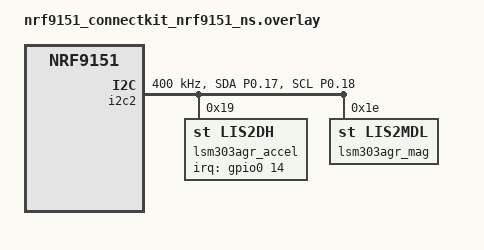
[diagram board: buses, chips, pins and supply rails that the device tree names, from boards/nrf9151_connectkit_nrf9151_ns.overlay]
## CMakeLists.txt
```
cmake_minimum_required(VERSION 3.20.0)
find_package(Zephyr REQUIRED HINTS $ENV{ZEPHYR_BASE})

project(zephyr_lsm303agr)

target_include_directories(app PRIVATE include)

target_sources(app PRIVATE
  src/main.c
  src/calibration.c
  src/cal2d.c
)
```

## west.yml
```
manifest:
  remotes:
    - name: ncs
      url-base: https://github.com/nrfconnect
    - name: makerdiary
      url-base: https://github.com/makerdiary

  projects:
    - name: nrf
      repo-path: sdk-nrf
      remote: ncs
      revision: v3.3.0
      import: true

    - name: nrf9151-connectkit
      remote: makerdiary
      revision: main
      path: nrf9151-connectkit
      import: false # only pull the board files

  self:
    path: zephyr-lsm303agr
```

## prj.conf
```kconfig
CONFIG_LOG=y

CONFIG_I2C=y

CONFIG_LIS2DH=y  # Accelerometer
CONFIG_LIS2DH_TRIGGER_GLOBAL_THREAD=y
CONFIG_LIS2DH_ACCEL_HP_FILTERS=y
CONFIG_LIS2MDL=y # Magnetometer
CONFIG_GPIO=y

CONFIG_SENSOR=y

CONFIG_NEWLIB_LIBC=y
CONFIG_CBPRINTF_FP_SUPPORT=y

# Shell for the 2D fine-tune calibration commands (cal2d ...)
CONFIG_SHELL=y
CONFIG_SHELL_BACKEND_SERIAL=y

# Hardware FPU (Cortex-M33) for the calibration math
CONFIG_FPU=y

CONFIG_MAIN_STACK_SIZE=32768
CONFIG_HEAP_MEM_POOL_SIZE=8192
CONFIG_LOG_MODE_IMMEDIATE=y
```

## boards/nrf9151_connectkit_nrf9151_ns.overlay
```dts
/*
 * Board overlay for Makerdiary nRF9151 Connect Kit
 * Target: nrf9151_connectkit/nrf9151/ns
 *
 * The Connect Kit has no arduino_i2c alias, so &i2c2 is configured
 * directly with custom pinctrl states.
 *
 * Sensor wiring:
 *   SDA → P0.17   SCL → P0.18
 */

#include <zephyr/dt-bindings/gpio/gpio.h>

&pinctrl {
    i2c2_default: i2c2_default {
        group1 {
            psels = <NRF_PSEL(TWIM_SDA, 0, 17)>,
                    <NRF_PSEL(TWIM_SCL, 0, 18)>;
        };
    };

    i2c2_sleep: i2c2_sleep {
        group1 {
            psels = <NRF_PSEL(TWIM_SDA, 0, 17)>,
                    <NRF_PSEL(TWIM_SCL, 0, 18)>;
            low-power-enable;
        };
    };
};

&i2c2 {
    compatible = "nordic,nrf-twim";
    status = "okay";
    pinctrl-0 = <&i2c2_default>;
    pinctrl-1 = <&i2c2_sleep>;
    pinctrl-names = "default", "sleep";
    clock-frequency = <I2C_BITRATE_FAST>;

    lsm303agr_accel: lsm303agr_accel@19 {
        compatible = "st,lis2dh";
        reg = <0x19>;
        irq-gpios = <&gpio0 14 GPIO_ACTIVE_HIGH>;
        anym-on-int1;
        int1-gpio-config = <3>; /* LEVEL_HIGH */
    };

    lsm303agr_mag: lsm303agr_mag@1e {
        compatible = "st,lis2mdl";
        reg = <0x1e>;
    };
};
```

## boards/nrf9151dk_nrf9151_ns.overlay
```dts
#include <zephyr/dt-bindings/gpio/gpio.h>

&arduino_i2c {
    status = "okay";

    lsm303agr_accel: lsm303agr_accel@19 {
        compatible = "st,lis2dh";
        reg = <0x19>;
        irq-gpios = <&gpio0 14 GPIO_ACTIVE_HIGH>;
        anym-on-int1;
        int1-gpio-config = <3>; /* LEVEL_HIGH */
    };

    lsm303agr_mag: lsm303agr_mag@1e {
        compatible = "st,lis2mdl";
        reg = <0x1e>;
    };
};
```

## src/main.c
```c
#include <zephyr/kernel.h>
#include <zephyr/device.h>
#include <zephyr/logging/log.h>
#include <zephyr/drivers/sensor.h>
#include <zephyr/shell/shell.h>

#include <math.h>

#include "calibration.h"
#include "cal2d.h"

LOG_MODULE_REGISTER(zephyr_lsm303agr);

const struct device *accel = DEVICE_DT_GET(DT_NODELABEL(lsm303agr_accel));
const struct device *mag   = DEVICE_DT_GET(DT_NODELABEL(lsm303agr_mag));

static const struct device *i2c =
  DEVICE_DT_GET(DT_BUS(DT_NODELABEL(lsm303agr_mag)));

/*
 * 2D fine-tune calibration (DT0103). The lab 3D MotionCal values (hard-iron in
 * the chip registers, soft-iron applied in software) are the base calibration.
 * At the install site the operator runs a single limited in-plane rotation:
 *
 *   cal2d start   -> rotate the device +-20..30 deg in its mounting plane
 *   cal2d stop    -> compute and print the fine-tune (de-rotation + hard-iron)
 *   cal2d apply   -> apply it to the live stream; cal2d off to revert
 *
 * The fine-tune sees soft-iron + lab-hard-iron corrected data and returns the
 * residual installation error and residual environmental hard-iron.
 */
#define CAL2D_MAX_SAMPLES 400
#define CAL2D_TICK_MS     50   /* ~20 Hz capture rate */
#define IDLE_PRINT_TICKS  1   /* decimate idle stream to ~1 Hz */

static struct mag_calibration cal;  /* lab base calibration */

static volatile bool cap_running;
static float  cap_acc[CAL2D_MAX_SAMPLES][3];
static float  cap_mag[CAL2D_MAX_SAMPLES][3];
static size_t cap_count;

static struct cal2d_result g_result;
static volatile bool g_result_valid;
static volatile bool g_apply;

/* Tilt-compensated heading (DT0058) from accel (m/s^2) + horizontal-frame mag. */
static double tilt_comp_heading(double ax, double ay, double az, double mx,
				double my, double mz)
{
	double roll = atan2(ay, az);
	double pitch = atan(-ax / (ay * sin(roll) + az * cos(roll)));
	double cr = cos(roll), sr = sin(roll);
	double cp = cos(pitch), sp = sin(pitch);

	/* rotate mag by euler2rotM([roll,pitch,0]) (row-vector convention) */
	double mxh = mx * (cp) + my * (sr * sp) + mz * (cr * sp);
	double myh = my * (cr) + mz * (-sr);
	double hdg = atan2(-myh, mxh) * 180.0 / 3.14159265358979323846;
	if (hdg < 0.0) {
		hdg += 360.0;
	}
	return hdg;
}

/*
 * Machine-readable result line for the GUI tool (tools/cal2d_gui). The GUI
 * extracts the "#R," payload from the line regardless of any log prefix:
 *   #R,status,roll,pitch,yaw,hix,hiy,hiz,arc_deg,radius,plane_res,circ_res,axis_vert
 * angles in degrees, hard-iron/radius in the mag units, axis_vert 0/1.
 */
static void cal2d_emit_result_line(int status)
{
	if (status == CAL2D_OK && g_result_valid) {
		const struct cal2d_result *r = &g_result;
		LOG_INF("#R,0,%.3f,%.3f,%.3f,%.4f,%.4f,%.4f,%.2f,%.4f,%.4f,%.4f,%d",
			(double)(r->rpy_err[0] * 57.29578f),
			(double)(r->rpy_err[1] * 57.29578f),
			(double)(r->rpy_err[2] * 57.29578f),
			(double)r->hard_iron[0], (double)r->hard_iron[1],
			(double)r->hard_iron[2], (double)r->arc_span_deg,
			(double)r->field_radius, (double)r->plane_rms_mag,
			(double)r->circle_residual, r->axis_vertical ? 1 : 0);
	} else {
		LOG_INF("#R,%d,0,0,0,0,0,0,0,0,0,0,0", status);
	}
}

/*
 * Stop capturing and compute the fine-tune from the first n samples, storing
 * it in g_result on success. Shared by the 'cal2d stop' command and the
 * auto-stop path when the sample buffer fills. Returns a CAL2D_* status.
 */
static int cal2d_finish_capture(size_t n)
{
	cap_running = false;

	struct cal2d_params p;
	cal2d_params_default(&p);
	memcpy(p.soft_iron, cal.soft_iron, sizeof(p.soft_iron));

	struct cal2d_result r;
	int st = cal2d_compute(cap_acc, cap_mag, n, &p, &r);
	if (st == CAL2D_OK) {
		g_result = r;
		g_result_valid = true;
	}
	cal2d_emit_result_line(st);
	return st;
}

/* ------------------------------------------------------------------ */
/* cal2d shell commands                                               */
/* ------------------------------------------------------------------ */

static int cmd_cal2d_start(const struct shell *sh, size_t argc, char **argv)
{
	ARG_UNUSED(argc);
	ARG_UNUSED(argv);
	if (cap_running) {
		shell_warn(sh, "capture already running; use 'cal2d stop' first");
		return -EALREADY;
	}
	cap_count = 0;
	cap_running = true;
	shell_print(sh, "cal2d: capturing -- rotate the device +-20..30 deg in its");
	shell_print(sh, "       mounting plane, then run 'cal2d stop' (max %d samples)",
		    CAL2D_MAX_SAMPLES);
	return 0;
}

static int cmd_cal2d_stop(const struct shell *sh, size_t argc, char **argv)
{
	ARG_UNUSED(argc);
	ARG_UNUSED(argv);
	if (!cap_running) {
		shell_warn(sh, "no capture running; use 'cal2d start' first");
		return -EINVAL;
	}
	size_t n = cap_count;
	shell_print(sh, "cal2d: captured %u samples, computing...", (unsigned)n);

	int st = cal2d_finish_capture(n);
	if (st != CAL2D_OK) {
		const char *why = st == CAL2D_ERR_TOO_FEW ? "not enough samples"
			: st == CAL2D_ERR_PLANE ? "degenerate plane (no rotation?)"
			: st == CAL2D_ERR_CIRCLE ? "degenerate circle fit"
			: "unknown error";
		shell_error(sh, "cal2d: compute failed (%d): %s", st, why);
		return st;
	}

	const struct cal2d_result r = g_result;

	shell_print(sh, "cal2d: result");
	shell_print(sh, "  de-rotation roll/pitch/yaw = %.2f / %.2f / %.2f deg",
		    (double)(r.rpy_err[0] * 57.29578f),
		    (double)(r.rpy_err[1] * 57.29578f),
		    (double)(r.rpy_err[2] * 57.29578f));
	shell_print(sh, "  residual hard-iron = [%.4f %.4f %.4f] (subtracted, sensor frame)",
		    (double)r.hard_iron[0], (double)r.hard_iron[1],
		    (double)r.hard_iron[2]);
	shell_print(sh, "  arc span = %.1f deg | field radius = %.4f",
		    (double)r.arc_span_deg, (double)r.field_radius);
	shell_print(sh, "  plane residual = %.4f | circle residual = %.4f",
		    (double)r.plane_rms_mag, (double)r.circle_residual);
	shell_print(sh, "  rotation axis treated as %s",
		    r.axis_vertical ? "vertical" : "tilted");

	if (r.arc_span_deg < 30.0f) {
		shell_warn(sh, "  arc < 30 deg: hard-iron estimate is ill-conditioned"
				" -- trust the de-rotation, be cautious with hard-iron");
	}
	if (r.plane_rms_mag > 0.05f) {
		shell_warn(sh, "  high plane residual: motion was not a clean in-plane"
				" rotation");
	}
	if (r.circle_residual > 0.05f) {
		shell_warn(sh, "  high circle residual: soft-iron may be off, or noisy"
				" capture");
	}
	shell_print(sh, "  run 'cal2d apply' to use it on the live stream");
	return 0;
}

static int cmd_cal2d_apply(const struct shell *sh, size_t argc, char **argv)
{
	ARG_UNUSED(argc);
	ARG_UNUSED(argv);
	if (!g_result_valid) {
		shell_warn(sh, "no result yet; run 'cal2d start'/'cal2d stop' first");
		return -EINVAL;
	}
	g_apply = true;
	shell_print(sh, "cal2d: applying fine-tune to live stream");
	return 0;
}

static int cmd_cal2d_off(const struct shell *sh, size_t argc, char **argv)
{
	ARG_UNUSED(argc);
	ARG_UNUSED(argv);
	g_apply = false;
	shell_print(sh, "cal2d: fine-tune disabled on live stream");
	return 0;
}

static int cmd_cal2d_show(const struct shell *sh, size_t argc, char **argv)
{
	ARG_UNUSED(argc);
	ARG_UNUSED(argv);
	if (!g_result_valid) {
		shell_print(sh, "cal2d: no result");
		return 0;
	}
	shell_print(sh, "cal2d: de-rot r/p/y = %.2f/%.2f/%.2f deg, HI = [%.4f %.4f %.4f],"
			" arc %.1f deg, applied=%s",
		    (double)(g_result.rpy_err[0] * 57.29578f),
		    (double)(g_result.rpy_err[1] * 57.29578f),
		    (double)(g_result.rpy_err[2] * 57.29578f),
		    (double)g_result.hard_iron[0], (double)g_result.hard_iron[1],
		    (double)g_result.hard_iron[2], (double)g_result.arc_span_deg,
		    g_apply ? "yes" : "no");
	cal2d_emit_result_line(CAL2D_OK);
	return 0;
}

static int cmd_cal2d_clear(const struct shell *sh, size_t argc, char **argv)
{
	ARG_UNUSED(argc);
	ARG_UNUSED(argv);
	g_apply = false;
	g_result_valid = false;
	shell_print(sh, "cal2d: result cleared");
	return 0;
}

static int cmd_cal2d_status(const struct shell *sh, size_t argc, char **argv)
{
	ARG_UNUSED(argc);
	ARG_UNUSED(argv);
	shell_print(sh, "cal2d: capturing=%s samples=%u result=%s applied=%s",
		    cap_running ? "yes" : "no", (unsigned)cap_count,
		    g_result_valid ? "valid" : "none", g_apply ? "yes" : "no");
	return 0;
}

SHELL_STATIC_SUBCMD_SET_CREATE(
	cal2d_cmds,
	SHELL_CMD(start, NULL, "Begin a fine-tune capture (then rotate +-20..30 deg)",
		  cmd_cal2d_start),
	SHELL_CMD(stop, NULL, "Finish capture and compute the 2D fine-tune",
		  cmd_cal2d_stop),
	SHELL_CMD(apply, NULL, "Apply the last fine-tune to the live stream",
		  cmd_cal2d_apply),
	SHELL_CMD(off, NULL, "Stop applying the fine-tune", cmd_cal2d_off),
	SHELL_CMD(show, NULL, "Print the last fine-tune result", cmd_cal2d_show),
	SHELL_CMD(clear, NULL, "Discard the last fine-tune result", cmd_cal2d_clear),
	SHELL_CMD(status, NULL, "Print capture/apply status", cmd_cal2d_status),
	SHELL_SUBCMD_SET_END);
SHELL_CMD_REGISTER(cal2d, &cal2d_cmds,
		   "2D fine-tune magnetometer calibration (DT0103)", NULL);

/* ------------------------------------------------------------------ */

static void tap_handler(const struct device *dev,
                        const struct sensor_trigger *trig)
{
	LOG_INF("TAP detected");
}

int main(void)
{
	int ret;

	if (!device_is_ready(accel)) {
		LOG_ERR("Accelerometer not ready");
		return -1;
	}
	if (!device_is_ready(mag)) {
		LOG_ERR("Magnetometer not ready");
		return -1;
	}
	if (!device_is_ready(i2c)) {
		LOG_ERR("I2C bus not ready");
		return -1;
	}

	ret = calibration_load(&cal);
	if (ret < 0) {
		LOG_ERR("calibration_load failed: %d", ret);
		return ret;
	}

	/*
	 * Write hard-iron offsets to LSM303AGR hardware registers
	 * After that, every reading is automatically hard-iron
	 * corrected by the chip.
	 */
	ret = calibration_apply_hw(i2c, &cal);
	if (ret < 0) {
		LOG_ERR("calibration_apply_hw failed: %d", ret);
		return ret;
	}

	/* Single-tap detection on accelerometer */
	struct sensor_value tap_th;
	sensor_g_to_ms2(2, &tap_th);  /* ~2g threshold */
	ret = sensor_attr_set(accel, SENSOR_CHAN_ACCEL_XYZ,
	                      SENSOR_ATTR_SLOPE_TH, &tap_th);
	if (ret < 0) {
		LOG_ERR("tap threshold set failed: %d", ret);
		return ret;
	}

	struct sensor_value tap_dur = { .val1 = 3, .val2 = 0 }; /* ODR samples */
	ret = sensor_attr_set(accel, SENSOR_CHAN_ACCEL_XYZ,
	                      SENSOR_ATTR_SLOPE_DUR, &tap_dur);
	if (ret < 0) {
		LOG_ERR("tap duration set failed: %d", ret);
		return ret;
	}

	static const struct sensor_trigger tap_trig = {
		.type = SENSOR_TRIG_TAP,
		.chan = SENSOR_CHAN_ACCEL_XYZ,
	};
	ret = sensor_trigger_set(accel, (struct sensor_trigger *)&tap_trig, tap_handler);
	if (ret < 0) {
		LOG_ERR("tap trigger set failed: %d", ret);
		return ret;
	}

	LOG_INF("Calibration applied. Starting measurement loop.");
	LOG_INF("Run 'cal2d start' / 'cal2d stop' to fine-tune at the install site.");

	struct sensor_value accel_x, accel_y, accel_z;
	struct sensor_value mag_x,   mag_y,   mag_z;
	unsigned int idle_ticks = 0;

	while (1) {
		/* Read accelerometer */
		sensor_sample_fetch(accel);
		sensor_channel_get(accel, SENSOR_CHAN_ACCEL_X, &accel_x);
		sensor_channel_get(accel, SENSOR_CHAN_ACCEL_Y, &accel_y);
		sensor_channel_get(accel, SENSOR_CHAN_ACCEL_Z, &accel_z);
		double dax = sensor_value_to_double(&accel_x);
		double day = sensor_value_to_double(&accel_y);
		double daz = sensor_value_to_double(&accel_z);

		/* Read magnetometer (hard-iron corrected in hardware) */
		sensor_sample_fetch(mag);
		sensor_channel_get(mag, SENSOR_CHAN_MAGN_X, &mag_x);
		sensor_channel_get(mag, SENSOR_CHAN_MAGN_Y, &mag_y);
		sensor_channel_get(mag, SENSOR_CHAN_MAGN_Z, &mag_z);
		double dmx = sensor_value_to_double(&mag_x);
		double dmy = sensor_value_to_double(&mag_y);
		double dmz = sensor_value_to_double(&mag_z);

		/* Lab soft-iron (the cal2d core expects soft-iron-corrected data) */
		double cmx, cmy, cmz;
		calibration_apply_sw(&cal, dmx, dmy, dmz, &cmx, &cmy, &cmz);

		/*
		 * Tilt-compensated heading. Use the 2D fine-tuned mag when a
		 * fine-tune is applied, otherwise the base (soft-iron) mag.
		 */
		double hmx = cmx, hmy = cmy, hmz = cmz;
		bool finetuned = g_result_valid && g_apply;
		if (finetuned) {
			cal2d_apply(&g_result, cmx, cmy, cmz, &hmx, &hmy, &hmz);
		}
		double hdg = tilt_comp_heading(dax, day, daz, hmx, hmy, hmz);

		if (cap_running) {
			if (cap_count < CAL2D_MAX_SAMPLES) {
				cap_acc[cap_count][0] = (float)dax;
				cap_acc[cap_count][1] = (float)day;
				cap_acc[cap_count][2] = (float)daz;
				cap_mag[cap_count][0] = (float)cmx;
				cap_mag[cap_count][1] = (float)cmy;
				cap_mag[cap_count][2] = (float)cmz;
				cap_count++;
			}
			if (cap_count >= CAL2D_MAX_SAMPLES) {
				/* buffer full: stop and compute here, no 'cal2d stop' needed */
				int st = cal2d_finish_capture(cap_count);
				if (st == CAL2D_OK) {
					LOG_INF("cal2d: buffer full (%d samples) -- auto-finished;"
						" run 'cal2d show' / 'cal2d apply'",
						CAL2D_MAX_SAMPLES);
				} else {
					LOG_ERR("cal2d: buffer full but compute failed (%d)", st);
				}
			}
		}

		/*
		 * Machine-readable telemetry for the GUI tool (and a human-glanceable
		 * heading). The GUI extracts the "#T," payload regardless of log prefix:
		 *   #T,state,count,ax,ay,az,mx,my,mz,heading,applied
		 * state 0=idle/1=capturing; mx,my,mz are soft-iron (pre-2D) so the GUI
		 * can plot the swept circle; heading reflects the fine-tune if applied.
		 */
		if (++idle_ticks >= IDLE_PRINT_TICKS) {
			idle_ticks = 0;
			LOG_INF("#T,%d,%u,%.3f,%.3f,%.3f,%.4f,%.4f,%.4f,%.1f,%d",
				cap_running ? 1 : 0, (unsigned)cap_count, dax, day, daz,
				cmx, cmy, cmz, hdg, finetuned ? 1 : 0);
		}

		k_msleep(CAL2D_TICK_MS);
	}
	return 0;
}
```

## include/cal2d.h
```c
#ifndef CAL2D_H
#define CAL2D_H

/*
 * 2D fine-tune magnetometer calibration (ST DT0103).
 *
 * Accelerometer-assisted 2D calibration: from a single limited in-plane
 * rotation (a "fine-tune" sweep, e.g. +-20..30 deg) at the install site,
 * re-estimate
 *
 *   1. the magnetometer installation error (roll/pitch misalignment of the
 *      mag frame vs. the accelerometer frame) -> a de-rotation matrix, and
 *   2. the residual hard-iron offset of the local environment -> the center
 *      of the fitted circle.
 *
 * Soft-iron is assumed already known and applied to the input data (from the
 * lab 3D MotionCal calibration), so the algorithm internally treats soft-iron
 * as unity. Hard-iron returned here is the *additional* environmental offset,
 * on top of whatever the lab calibration already removes.
 *
 * This module is pure C (only <math.h>) so it can be unit-tested on the host.
 *
 * IMPORTANT — short-arc caveat:
 *   With only ~50 deg of arc the plane fit (installation error / tilt) stays
 *   well-conditioned, but the circle-center fit (hard-iron) is ill-conditioned:
 *   center and radius become strongly correlated, so a few mGauss of noise can
 *   produce tens of mGauss of hard-iron error. Trust the de-rotation; gate the
 *   hard-iron on `arc_span_deg` and `circle_residual` in the result.
 *
 * Matrix convention: row-vector post-multiplication, matching the DT0103
 * MATLAB. For a row vector v and matrix M, the transformed vector is
 *   out[j] = sum_i v[i] * M[i][j]    (i.e. out = v * M).
 */

#include <stddef.h>
#include <stdbool.h>

struct cal2d_params {
	/*
	 * Lab soft-iron matrix, kept for reference/logging only. The input data
	 * passed to cal2d_compute() is assumed to be ALREADY soft-iron corrected,
	 * so the core treats soft-iron as unity.
	 */
	float soft_iron[3][3];

	/*
	 * Accelerometer RMS noise in g units, used for the vertical-axis test
	 * (axis is treated as vertical when the accel barycenter spread is below
	 * 6 * acc_noise_rms). Increase to bias toward the simpler vertical-axis
	 * path; decrease to make the tilted-plane machinery trigger on smaller
	 * tilts. ~0.02 g is a sensible default for the LSM303AGR.
	 */
	float acc_noise_rms;

	/*
	 * false (default): circle fit (DT0103 f=2) — 3 parameters, best
	 * conditioned on a short arc, correct when soft-iron is already applied.
	 * true: rotated-ellipse fit (f=0) — 5 parameters, only if residual
	 * soft-iron must be absorbed; much worse on a short arc.
	 */
	bool use_ellipse_fit;

	/*
	 * Force the simple flatten-to-horizontal path (skip the tilted-plane
	 * accel de-rotation + Ycorr finalize) even when the rotation axis is
	 * detected as non-vertical. See cal2d.c / README for why this is the
	 * default-safe choice for near-horizontal mounts.
	 */
	bool force_horizontal;
};

struct cal2d_result {
	/* Installation-error de-rotation (row-vector convention: out = mag * derotM). */
	float derotM[3][3];

	/* Estimated residual hard-iron offset, sensor frame, same units as input. */
	float hard_iron[3];

	/* Reported installation error [roll, pitch, yaw] in radians. */
	float rpy_err[3];

	/* Extent of the captured sweep in degrees (de-rotated XY). */
	float arc_span_deg;

	/* Mag plane-fit RMS residual, normalized by the mean radius (unitless). */
	float plane_rms_mag;

	/* Circle-fit RMS radial residual, normalized by the radius (unitless). */
	float circle_residual;

	/* Fitted circle radius (field strength in the horizontal plane). */
	float field_radius;

	/* true => rotation axis treated as vertical; tilt machinery skipped. */
	bool axis_vertical;

	/* 0 = ok; <0 = error (see CAL2D_ERR_* below). */
	int status;
};

#define CAL2D_OK 0
#define CAL2D_ERR_TOO_FEW (-1)    /* not enough samples */
#define CAL2D_ERR_PLANE (-2)      /* degenerate mag plane fit */
#define CAL2D_ERR_CIRCLE (-3)     /* degenerate circle fit */

/* Minimum number of samples cal2d_compute() will accept. */
#define CAL2D_MIN_SAMPLES 8

/*
 * Compute the 2D fine-tune calibration from a captured sweep.
 *
 *   acc : N x 3 accelerometer samples (any consistent unit; only direction
 *         and relative spread matter — m/s^2 or g are both fine).
 *   mag : N x 3 magnetometer samples, ALREADY soft-iron (and lab hard-iron)
 *         corrected.
 *   n   : number of samples.
 *   p   : parameters (may be NULL for defaults).
 *   r   : result (filled on return; r->status carries the outcome).
 *
 * Returns r->status (0 on success, negative on error).
 */
int cal2d_compute(const float acc[][3], const float mag[][3], size_t n,
		  const struct cal2d_params *p, struct cal2d_result *r);

/*
 * Apply a computed result to one magnetometer sample:
 *   out = (mag - hard_iron) * derotM
 * Input must be in the same (soft-iron corrected) space as the capture.
 */
void cal2d_apply(const struct cal2d_result *r, double mx, double my, double mz,
		 double *ox, double *oy, double *oz);

/* Fill p with default parameters (unity soft-iron, 0.02 g noise, circle fit). */
void cal2d_params_default(struct cal2d_params *p);

#endif /* !CAL2D_H */
```

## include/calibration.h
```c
#ifndef CALIBRATION_H
#define CALIBRATION_H

#include <zephyr/device.h>

struct mag_calibration {
  float hard_iron[3];
  float soft_iron[3][3];
};

int calibration_load(struct mag_calibration *cal);

int calibration_apply_hw(const struct device *i2c,
                         const struct mag_calibration *cal);

void calibration_apply_sw(const struct mag_calibration *cal, double rx,
                          double ry, double rz, double *cx, double *cy,
                          double *cz);

#endif /* !CALIBRATION_H */
```

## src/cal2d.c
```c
/*
 * 2D fine-tune magnetometer calibration (ST DT0103) — pure C core.
 *
 * Faithful port of the DT0103 reference MATLAB ("Compensating for magnetometer
 * installation error and hard-iron effects using accelerometer-assisted 2D
 * calibration", DT0103 Rev 1). The original MATLAB for each function is quoted
 * in a comment above the C port.
 *
 * Conventions:
 *   - Row-vector post-multiplication: out = v * M, i.e. out[j]=sum_i v[i]*M[i][j].
 *   - euler = [roll(phi), pitch(theta), yaw(psi)], radians, NED frame.
 *   - All internal math is double for numerical robustness; the public API
 *     stores float to match the sensor sample buffers.
 */

#include <math.h>
#include <string.h>

#include "cal2d.h"

/* ------------------------------------------------------------------ */
/* Small linear-algebra helpers                                       */
/* ------------------------------------------------------------------ */

/* C = A * B   (3x3, row-major) */
static void mat3_mul(const double A[3][3], const double B[3][3], double C[3][3])
{
	for (int i = 0; i < 3; i++) {
		for (int j = 0; j < 3; j++) {
			double s = 0.0;
			for (int k = 0; k < 3; k++) {
				s += A[i][k] * B[k][j];
			}
			C[i][j] = s;
		}
	}
}

/* B = A^T  (3x3) */
static void mat3_transpose(const double A[3][3], double B[3][3])
{
	for (int i = 0; i < 3; i++) {
		for (int j = 0; j < 3; j++) {
			B[i][j] = A[j][i];
		}
	}
}

/* out = v * M   (row vector times 3x3) */
static void vec3_mul_mat(const double v[3], const double M[3][3], double out[3])
{
	for (int j = 0; j < 3; j++) {
		out[j] = v[0] * M[0][j] + v[1] * M[1][j] + v[2] * M[2][j];
	}
}

/* out = M * v   (3x3 times column vector) */
static void mat_mul_vec3(const double M[3][3], const double v[3], double out[3])
{
	for (int i = 0; i < 3; i++) {
		out[i] = M[i][0] * v[0] + M[i][1] * v[1] + M[i][2] * v[2];
	}
}

/*
 * Solve A x = b for a small dense system (n <= 5) with partial pivoting.
 * A is row-major n x n (destroyed). Returns 0 on success, -1 if singular.
 */
static int solve_linear(double *A, double *b, int n, double *x)
{
	for (int col = 0; col < n; col++) {
		/* partial pivot */
		int piv = col;
		double best = fabs(A[col * n + col]);
		for (int r = col + 1; r < n; r++) {
			double v = fabs(A[r * n + col]);
			if (v > best) {
				best = v;
				piv = r;
			}
		}
		if (best < 1e-18) {
			return -1;
		}
		if (piv != col) {
			for (int c = 0; c < n; c++) {
				double t = A[col * n + c];
				A[col * n + c] = A[piv * n + c];
				A[piv * n + c] = t;
			}
			double t = b[col];
			b[col] = b[piv];
			b[piv] = t;
		}
		/* eliminate */
		double diag = A[col * n + col];
		for (int r = col + 1; r < n; r++) {
			double f = A[r * n + col] / diag;
			if (f == 0.0) {
				continue;
			}
			for (int c = col; c < n; c++) {
				A[r * n + c] -= f * A[col * n + c];
			}
			b[r] -= f * b[col];
		}
	}
	/* back-substitution */
	for (int i = n - 1; i >= 0; i--) {
		double s = b[i];
		for (int c = i + 1; c < n; c++) {
			s -= A[i * n + c] * x[c];
		}
		x[i] = s / A[i * n + i];
	}
	return 0;
}

/* ------------------------------------------------------------------ */
/* DT0103 helper functions (pp. 7-9)                                  */
/* ------------------------------------------------------------------ */

/*
 * function [euler] = acc2euler(acc)
 *   x=acc(:,1); y=acc(:,2); z=acc(:,3);
 *   r=atan2(y,z);
 *   p=atan(-x./(y.*sin(r) + z.*cos(r)));
 *   y=0;
 *   euler=[r p y];
 */
static void acc2euler(const double acc[3], double euler[3])
{
	double x = acc[0], y = acc[1], z = acc[2];
	double r = atan2(y, z);
	double p = atan(-x / (y * sin(r) + z * cos(r)));
	euler[0] = r;
	euler[1] = p;
	euler[2] = 0.0;
}

/*
 * function M = euler2rotM(euler)   % NED, Roll(phi) Pitch(theta) Yaw(psi)
 *   m11= cos(theta)*cos(psi);
 *   m12= cos(theta)*sin(psi);
 *   m13=-sin(theta);
 *   m21=sin(phi)*sin(theta)*cos(psi)-cos(phi)*sin(psi);
 *   m22=sin(phi)*sin(theta)*sin(psi)+cos(phi)*cos(psi);
 *   m23=sin(phi)*cos(theta);
 *   m31=cos(phi)*sin(theta)*cos(psi)+sin(phi)*sin(psi);
 *   m32=cos(phi)*sin(theta)*sin(psi)-sin(phi)*cos(psi);
 *   m33=cos(phi)*cos(theta);
 */
static void euler2rotM(const double euler[3], double M[3][3])
{
	double phi = euler[0], theta = euler[1], psi = euler[2];
	double cph = cos(phi), sph = sin(phi);
	double cth = cos(theta), sth = sin(theta);
	double cps = cos(psi), sps = sin(psi);

	M[0][0] = cth * cps;
	M[0][1] = cth * sps;
	M[0][2] = -sth;
	M[1][0] = sph * sth * cps - cph * sps;
	M[1][1] = sph * sth * sps + cph * cps;
	M[1][2] = sph * cth;
	M[2][0] = cph * sth * cps + sph * sps;
	M[2][1] = cph * sth * sps - sph * cps;
	M[2][2] = cph * cth;
}

/*
 * function euler = rotM2euler(M)
 *   m13=min(+1,m13); m13=max(-1,m13);
 *   theta=-asin(m13);
 *   costh=cos(theta);
 *   if abs(costh)<0.001,   % singularity
 *     sgnth=sign(theta); phi=0;
 *     psi=-sgnth*atan2(-m32,+m22);
 *   else
 *     psi=atan2(m12/costh,m11/costh);
 *     phi=atan2(m23/costh,m33/costh);
 *   end;
 *   euler=[phi theta psi]; % roll pitch yaw
 */
static void rotM2euler(const double M[3][3], double euler[3])
{
	double m13 = M[0][2];
	if (m13 > 1.0) {
		m13 = 1.0;
	}
	if (m13 < -1.0) {
		m13 = -1.0;
	}
	double theta = -asin(m13);
	double costh = cos(theta);
	double phi, psi;

	if (fabs(costh) < 0.001) {
		double sgnth = (theta > 0.0) ? 1.0 : ((theta < 0.0) ? -1.0 : 0.0);
		phi = 0.0;
		psi = -sgnth * atan2(-M[2][1], M[1][1]);
	} else {
		psi = atan2(M[0][1] / costh, M[0][0] / costh);
		phi = atan2(M[1][2] / costh, M[2][2] / costh);
	}
	euler[0] = phi;
	euler[1] = theta;
	euler[2] = psi;
}

/*
 * function [n,p] = planefitls(xyz)   % least squares plane normal (no eigen)
 * Computes the unit normal of the best-fit plane through the points and,
 * via *rms_dist_out, the mean Euclidean distance of points from their
 * centroid (used by the caller for the vertical-axis / cluster test).
 * Returns 0 on success, -1 if the points are degenerate (D==0).
 */
static int planefitls(const float xyz[][3], size_t N, double n[3],
		      double centroid[3], double *rms_dist_out)
{
	double p[3] = {0.0, 0.0, 0.0};
	for (size_t i = 0; i < N; i++) {
		p[0] += (double)xyz[i][0];
		p[1] += (double)xyz[i][1];
		p[2] += (double)xyz[i][2];
	}
	p[0] /= (double)N;
	p[1] /= (double)N;
	p[2] /= (double)N;

	double xx = 0, yy = 0, zz = 0, xy = 0, xz = 0, yz = 0;
	double dsum = 0.0;
	for (size_t i = 0; i < N; i++) {
		double x = (double)xyz[i][0] - p[0];
		double y = (double)xyz[i][1] - p[1];
		double z = (double)xyz[i][2] - p[2];
		xx += x * x;
		yy += y * y;
		zz += z * z;
		xy += x * y;
		xz += x * z;
		yz += y * z;
		dsum += sqrt(x * x + y * y + z * z);
	}

	if (centroid) {
		centroid[0] = p[0];
		centroid[1] = p[1];
		centroid[2] = p[2];
	}
	if (rms_dist_out) {
		*rms_dist_out = dsum / (double)N;
	}

	double Dx = yy * zz - yz * yz;
	double Dy = xx * zz - xz * xz;
	double Dz = xx * yy - xy * xy;

	double D = fabs(Dx);
	int flag = 0;
	if (fabs(Dy) > D) {
		D = fabs(Dy);
		flag = 1;
	}
	if (fabs(Dz) > D) {
		D = fabs(Dz);
		flag = 2;
	}
	if (D == 0.0) {
		n[0] = n[1] = n[2] = 0.0;
		return -1;
	}

	double a, b, c;
	switch (flag) {
	case 0:
		a = 1.0;
		b = (xz * yz - xy * zz) / Dx;
		c = (xy * yz - xz * yy) / Dx;
		break;
	case 1:
		a = (yz * xz - xy * zz) / Dy;
		b = 1.0;
		c = (xy * xz - yz * xx) / Dy;
		break;
	default: /* case 2 */
		a = (yz * xy - xz * yy) / Dz;
		b = (xz * xy - yz * xx) / Dz;
		c = 1.0;
		break;
	}
	double norm = sqrt(a * a + b * b + c * c);
	n[0] = a / norm;
	n[1] = b / norm;
	n[2] = c / norm;
	return 0;
}

/*
 * Both the circle fit (DT0103 ellipsoid_2D_fit, f=2) and the rotated-ellipse
 * fit (f=0) are computed inline in cal2d_compute() by streaming the de-rotated
 * points into normal equations, which avoids a large temporary buffer of
 * de-rotated coordinates. See the comments at those sites.
 *
 *   circle (f=2):  D=[x^2+y^2, 2x, 2y];        center=(-v2/v1, -v3/v1)
 *   ellipse (f=0): D=[x^2, y^2, 2xy, 2x, 2y];  center=-[v1 v3; v3 v2]\[v4;v5]
 */

/*
 * Solve for the yaw Ycorr that removes the spurious yaw introduced by the
 * tilted-plane de-rotation (DT0103 "Ycorr"). After the finalize
 *   derotM_final = derotM_inst * euler2rotM([0,0,Ycorr]) * aderotM',
 * the (1,2) entry of derotM_final is
 *   M12(b) = c1 cos b + c2 sin b + c3,
 * and we want M12 = 0 (zero yaw). This has two roots; the physical branch is
 * the one with M11(b) > 0 (yaw = 0, not pi).
 *
 * DT0103 solves this with a Newton iteration whose listing has a sign error in
 * the derivative and a "+pi" branch jump that is only valid when the two roots
 * are pi apart (they are not). We instead solve the trig equation in closed
 * form and pick the M11>0 branch deterministically.
 *
 *   derotM  : installation-error de-rotation (first row used) = derotM_inst
 *   aderotM : accel-derived de-rotation (rows 0 and 1 used)
 */
static double solve_ycorr(const double derotM[3][3], const double aderotM[3][3])
{
	double m11 = derotM[0][0], m12 = derotM[0][1], m13 = derotM[0][2];
	double a11 = aderotM[0][0], a12 = aderotM[0][1], a13 = aderotM[0][2];
	double a21 = aderotM[1][0], a22 = aderotM[1][1], a23 = aderotM[1][2];

	double c1 = a21 * m11 + a22 * m12;   /* M12 = c1 cos b + c2 sin b + c3 */
	double c2 = a22 * m11 - a21 * m12;
	double c3 = a23 * m13;

	double R = sqrt(c1 * c1 + c2 * c2);
	if (R < 1e-12) {
		return 0.0;   /* degenerate: no yaw ambiguity to resolve */
	}
	/* c1 cos b + c2 sin b = -c3  ->  R cos(b - phi) = -c3, phi = atan2(c2,c1) */
	double arg = -c3 / R;
	if (arg > 1.0) {
		arg = 1.0;
	}
	if (arg < -1.0) {
		arg = -1.0;
	}
	double phi = atan2(c2, c1);
	double d = acos(arg);
	double cand[2] = {phi + d, phi - d};

	/* pick the branch with the larger M11 (the M11>0, yaw=0 solution) */
	double best_b = cand[0];
	double best_m11 = -1e300;
	for (int k = 0; k < 2; k++) {
		double cb = cos(cand[k]), sb = sin(cand[k]);
		double M11 = cb * (a11 * m11 + a12 * m12) +
			     sb * (a12 * m11 - a11 * m12) + a13 * m13;
		if (M11 > best_m11) {
			best_m11 = M11;
			best_b = cand[k];
		}
	}
	return best_b;
}

/* ------------------------------------------------------------------ */
/* Public API                                                         */
/* ------------------------------------------------------------------ */

void cal2d_params_default(struct cal2d_params *p)
{
	memset(p, 0, sizeof(*p));
	for (int i = 0; i < 3; i++) {
		p->soft_iron[i][i] = 1.0f;
	}
	p->acc_noise_rms = 0.02f;
	p->use_ellipse_fit = false;
	/*
	 * Default to the horizontal-plane path. The DT0103 tilted-plane finalize
	 * (accel de-rotation + Ycorr) did not improve heading accuracy in host
	 * validation across tilt, and the published listing it is based on has
	 * sign/branch errors; for the limited-arc fine-tune on a near-horizontal
	 * mount the simple flatten-to-horizontal path is more robust. Set
	 * force_horizontal=false to opt into the experimental tilted-plane path.
	 */
	p->force_horizontal = true;
}

void cal2d_apply(const struct cal2d_result *r, double mx, double my, double mz,
		 double *ox, double *oy, double *oz)
{
	double v[3] = {
		mx - (double)r->hard_iron[0],
		my - (double)r->hard_iron[1],
		mz - (double)r->hard_iron[2],
	};
	double M[3][3];
	for (int i = 0; i < 3; i++) {
		for (int j = 0; j < 3; j++) {
			M[i][j] = (double)r->derotM[i][j];
		}
	}
	double out[3];
	vec3_mul_mat(v, M, out);  /* out = (mag - HI) * derotM */
	*ox = out[0];
	*oy = out[1];
	*oz = out[2];
}

int cal2d_compute(const float acc[][3], const float mag[][3], size_t n,
		  const struct cal2d_params *p, struct cal2d_result *r)
{
	struct cal2d_params def;
	if (!p) {
		cal2d_params_default(&def);
		p = &def;
	}

	memset(r, 0, sizeof(*r));
	/* identity de-rotation as a safe default */
	for (int i = 0; i < 3; i++) {
		r->derotM[i][i] = 1.0f;
	}

	if (n < CAL2D_MIN_SAMPLES) {
		r->status = CAL2D_ERR_TOO_FEW;
		return r->status;
	}

	/* --- Step 1: rotation-axis estimation from accelerometer ---------- */
	double na[3], a_centroid[3], avmd;
	double aderotM[3][3] = {{1, 0, 0}, {0, 1, 0}, {0, 0, 1}};
	bool axis_vertical;

	if (planefitls(acc, n, na, a_centroid, &avmd) != 0) {
		/* accel points degenerate => treat axis as vertical */
		axis_vertical = true;
	} else {
		/* choose minimal rotation w.r.t. vertical: dot(na,[0,0,1])>=0 */
		if (na[2] < 0.0) {
			na[0] = -na[0];
			na[1] = -na[1];
			na[2] = -na[2];
		}
		/* cluster of accel points (spread below noise) => vertical axis */
		axis_vertical = (avmd < 6.0 * (double)p->acc_noise_rms);
		if (!axis_vertical) {
			double rpy_ax[3];
			acc2euler(na, rpy_ax);
			euler2rotM(rpy_ax, aderotM);  /* de-rotate accel to horizontal */
		}
	}
	r->axis_vertical = axis_vertical;

	/* --- Step 2: installation error from magnetometer plane ----------- */
	double nme[3], m_centroid[3], mvmd;
	if (planefitls(mag, n, nme, m_centroid, &mvmd) != 0) {
		r->status = CAL2D_ERR_PLANE;
		return r->status;
	}
	if (nme[2] < 0.0) {
		nme[0] = -nme[0];
		nme[1] = -nme[1];
		nme[2] = -nme[2];
	}
	double rpy_err[3];
	acc2euler(nme, rpy_err);  /* soft-iron assumed unity (already applied) */
	double derotM[3][3];
	euler2rotM(rpy_err, derotM);

	/* --- Step 3: de-rotate mag to horizontal, fit circle, find HI ----- */
	/*
	 * mvc = mag * derotM. To keep memory bounded (no temporary buffer of
	 * de-rotated points), we stream the de-rotated coordinates directly into
	 * the circle-fit normal equations and accumulate the mean Z, which is the
	 * height of the fitted plane = the Z coordinate of the center.
	 */
	double A[9] = {0};
	double bb[3] = {0};
	double meanZ = 0.0;
	for (size_t i = 0; i < n; i++) {
		double v[3] = {mag[i][0], mag[i][1], mag[i][2]};
		double w[3];
		vec3_mul_mat(v, derotM, w);  /* w = mag * derotM (horizontal) */
		double x = w[0], y = w[1];
		meanZ += w[2];

		double d0 = x * x + y * y;
		double d1 = 2.0 * x;
		double d2 = 2.0 * y;
		A[0] += d0 * d0;
		A[1] += d0 * d1;
		A[2] += d0 * d2;
		A[4] += d1 * d1;
		A[5] += d1 * d2;
		A[8] += d2 * d2;
		bb[0] += d0;
		bb[1] += d1;
		bb[2] += d2;
	}
	meanZ /= (double)n;
	A[3] = A[1];
	A[6] = A[2];
	A[7] = A[5];

	double o2[2];
	double radius;
	if (p->use_ellipse_fit) {
		/* Rotated-ellipse fit (f=0): stream the de-rotated points into the
		 * 5-parameter normal equations (second pass; the circle-fit pass
		 * above is unused in this mode). */
		double Ae[25] = {0};
		double be[5] = {0};
		for (size_t i = 0; i < n; i++) {
			double v[3] = {mag[i][0], mag[i][1], mag[i][2]};
			double w[3];
			vec3_mul_mat(v, derotM, w);
			double x = w[0], y = w[1];
			double d[5] = {x * x, y * y, 2 * x * y, 2 * x, 2 * y};
			for (int rr = 0; rr < 5; rr++) {
				for (int cc = 0; cc < 5; cc++) {
					Ae[rr * 5 + cc] += d[rr] * d[cc];
				}
				be[rr] += d[rr];
			}
		}
		double ve[5];
		if (solve_linear(Ae, be, 5, ve) != 0) {
			r->status = CAL2D_ERR_CIRCLE;
			return r->status;
		}
		double a11 = ve[0], a12 = ve[2], a22 = ve[1];
		double det = a11 * a22 - a12 * a12;
		if (fabs(det) < 1e-18) {
			r->status = CAL2D_ERR_CIRCLE;
			return r->status;
		}
		o2[0] = -(a22 * ve[3] - a12 * ve[4]) / det;
		o2[1] = -(-a12 * ve[3] + a11 * ve[4]) / det;
		radius = 0.0; /* filled below from residual loop */
	} else {
		double v[3];
		if (solve_linear(A, bb, 3, v) != 0 || fabs(v[0]) < 1e-18) {
			r->status = CAL2D_ERR_CIRCLE;
			return r->status;
		}
		o2[0] = -v[1] / v[0];
		o2[1] = -v[2] / v[0];
		double r2 = 1.0 / v[0] + o2[0] * o2[0] + o2[1] * o2[1];
		if (r2 <= 0.0) {
			r->status = CAL2D_ERR_CIRCLE;
			return r->status;
		}
		radius = sqrt(r2);
	}

	/* o3 = [o2x, o2y, meanZ]; HIE = derotM * o3   (back-rotate center) */
	double o3[3] = {o2[0], o2[1], meanZ};
	double hie[3];
	mat_mul_vec3(derotM, o3, hie);

	/*
	 * Keep the installation de-rotation (which flattens the mag circle to
	 * horizontal). The tilted finalize below replaces derotM with one that
	 * maps into the tilted accel plane, so all the circle/arc quality metrics
	 * must be evaluated against this flattened version, not the final one.
	 */
	double derotM_inst[3][3];
	memcpy(derotM_inst, derotM, sizeof(derotM_inst));

	/* --- Step 4: tilted-plane finalize (Newton Ycorr) ----------------- */
	if (!axis_vertical && !p->force_horizontal) {
		double Ycorr = solve_ycorr(derotM, aderotM);
		double yaw[3] = {0.0, 0.0, Ycorr};
		double yawrotM[3][3];
		euler2rotM(yaw, yawrotM);
		double aderotT[3][3];
		mat3_transpose(aderotM, aderotT);
		/* derotM = derotM * yawrotM * aderotM' */
		double tmp[3][3], newderot[3][3];
		mat3_mul(derotM, yawrotM, tmp);
		mat3_mul(tmp, aderotT, newderot);
		memcpy(derotM, newderot, sizeof(derotM));
		rotM2euler(derotM, rpy_err);
	}

	/* --- Quality metrics ---------------------------------------------- */
	/* plane residual (mag): RMS of dot(point-centroid, nme), normalized */
	double pres = 0.0;
	for (size_t i = 0; i < n; i++) {
		double dx = (double)mag[i][0] - m_centroid[0];
		double dy = (double)mag[i][1] - m_centroid[1];
		double dz = (double)mag[i][2] - m_centroid[2];
		double d = dx * nme[0] + dy * nme[1] + dz * nme[2];
		pres += d * d;
	}
	pres = sqrt(pres / (double)n);

	/*
	 * Circle residual + arc span, computed on de-rotated XY about o2.
	 * Arc span: take the mean angle as a reference, then the span is the
	 * range of the wrapped angular offsets from it (robust for arcs < 180 deg,
	 * which is exactly the limited-motion fine-tune case).
	 */
	double cres = 0.0;
	double rsum = 0.0;
	double cx = 0.0, sx = 0.0;
	for (size_t i = 0; i < n; i++) {
		double v[3] = {mag[i][0], mag[i][1], mag[i][2]};
		double w[3];
		vec3_mul_mat(v, derotM_inst, w);  /* flattened plane */
		double dx = w[0] - o2[0];
		double dy = w[1] - o2[1];
		double rr = sqrt(dx * dx + dy * dy);
		rsum += rr;
		double ang = atan2(dy, dx);
		cx += cos(ang);
		sx += sin(ang);
	}
	double meanr = rsum / (double)n;
	if (p->use_ellipse_fit) {
		radius = meanr;
	}
	double refang = atan2(sx, cx);
	double amin = 1e9, amax = -1e9;
	for (size_t i = 0; i < n; i++) {
		double v[3] = {mag[i][0], mag[i][1], mag[i][2]};
		double w[3];
		vec3_mul_mat(v, derotM_inst, w);  /* flattened plane */
		double dx = w[0] - o2[0];
		double dy = w[1] - o2[1];
		double rr = sqrt(dx * dx + dy * dy);
		cres += (rr - meanr) * (rr - meanr);
		double ang = atan2(dy, dx) - refang;
		while (ang > 3.14159265358979323846) {
			ang -= 2.0 * 3.14159265358979323846;
		}
		while (ang < -3.14159265358979323846) {
			ang += 2.0 * 3.14159265358979323846;
		}
		if (ang < amin) {
			amin = ang;
		}
		if (ang > amax) {
			amax = ang;
		}
	}
	cres = sqrt(cres / (double)n);

	/* --- fill result -------------------------------------------------- */
	for (int i = 0; i < 3; i++) {
		for (int j = 0; j < 3; j++) {
			r->derotM[i][j] = (float)derotM[i][j];
		}
	}
	r->hard_iron[0] = (float)hie[0];
	r->hard_iron[1] = (float)hie[1];
	r->hard_iron[2] = (float)hie[2];
	r->rpy_err[0] = (float)rpy_err[0];
	r->rpy_err[1] = (float)rpy_err[1];
	r->rpy_err[2] = (float)rpy_err[2];
	r->arc_span_deg = (float)((amax - amin) * 180.0 / 3.14159265358979323846);
	r->field_radius = (float)radius;
	r->plane_rms_mag = (float)(meanr > 0.0 ? pres / meanr : pres);
	r->circle_residual = (float)(meanr > 0.0 ? cres / meanr : cres);
	r->status = CAL2D_OK;
	return r->status;
}
```

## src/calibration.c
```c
#include <zephyr/drivers/i2c.h>
#include <zephyr/logging/log.h>

#include "calibration.h"

LOG_MODULE_REGISTER(calibration);

#define LSM303AGR_MAG_ADDR 0x1Eu

/* Hard-iron offset registers */
#define REG_OFFSET_X_L 0x45u
#define REG_OFFSET_X_H 0x46u
#define REG_OFFSET_Y_L 0x47u
#define REG_OFFSET_Y_H 0x48u
#define REG_OFFSET_Z_L 0x49u
#define REG_OFFSET_Z_H 0x4Au

/*
 * Magnetic sensitivity: 1.5 mgauss/LSB (datasheet Table 3, M_So).
 * Used to convert Gauss offsets to 16-bit integer for the offset registers.
 */
#define MAG_SENS_GAUSS_PER_LSB 0.0015f

///* Stub calibration data (in Gauss) */
//static const struct mag_calibration cal_stub = {
//  .hard_iron = {-0.1691f, -0.1813f, 0.1774f},
//  .soft_iron = {
//    {+0.985f, +0.020f, +0.008f},
//    {+0.020f, +1.026f, -0.014f},
//    {+0.008f, -0.014f, +0.990f},
//  }};

static const struct mag_calibration cal_stub = {
  .hard_iron = {-0.7637f, -0.5703f, -0.1594f},
  .soft_iron = {
    {+1.0066f, -0.0010f, -0.0140f},
    {-0.0010f, +1.0693f, -0.0289f},
    {-0.0140f, -0.0289f, +0.9300f},
  }};

/*
 * Load magnetometer calibration values.
 * Currently returns stub values derived from a MotionCal session.
 */
int calibration_load(struct mag_calibration *cal)
{
  memcpy(cal, &cal_stub, sizeof(*cal));
  LOG_INF("Stub calibration active");
  LOG_INF("  hard-iron: X=%.4f Y=%.4f Z=%.4f G", (double)cal->hard_iron[0],
          (double)cal->hard_iron[1], (double)cal->hard_iron[2]);
  return 0;
}

/*
 * Write hard-iron offsets to LSM303AGR hardware registers
 */
int calibration_apply_hw(const struct device *i2c,
                         const struct mag_calibration *cal)
{
  if (!device_is_ready(i2c)) {
    LOG_ERR("I2C bus not ready");
    return -ENODEV;
  }

  static const uint8_t regs[3][2] = {
    {REG_OFFSET_X_L, REG_OFFSET_X_H},
    {REG_OFFSET_Y_L, REG_OFFSET_Y_H},
    {REG_OFFSET_Z_L, REG_OFFSET_Z_H},
  };
  static const char *const axis_name[] = {"X", "Y", "Z"};

  for (int i = 0; i < 3; i++) {
    int16_t lsb = (int16_t)(cal->hard_iron[i] / MAG_SENS_GAUSS_PER_LSB);

    int ret = i2c_reg_write_byte(i2c, LSM303AGR_MAG_ADDR, regs[i][0],
                                (uint8_t)(lsb & 0xFF));
    if (ret) {
      LOG_ERR("HW offset %s low byte write failed: %d", axis_name[i], ret);
      return ret;
    }

    ret = i2c_reg_write_byte(i2c, LSM303AGR_MAG_ADDR, regs[i][1],
                            (uint8_t)((lsb >> 8) & 0xFF));
    if (ret) {
      LOG_ERR("HW offset %s high byte write failed: %d", axis_name[i], ret);
      return ret;
    }

    LOG_DBG("  offset %s: %.4f G → %d LSB", axis_name[i],
            (double)cal->hard_iron[i], (int)lsb);
  }

  LOG_INF("Hard-iron offsets written to LSM303AGR hardware registers");
  return 0;
}

/*
 * Applies the 3×3 soft-iron matrix.
 * Input must already be hard-iron corrected.
 */
void calibration_apply_sw(const struct mag_calibration *cal, double rx,
                          double ry, double rz, double *cx, double *cy,
                          double *cz)
{
  const float (*w)[3] = cal->soft_iron;

  *cx = (double)w[0][0] * rx + (double)w[0][1] * ry + (double)w[0][2] * rz;
  *cy = (double)w[1][0] * rx + (double)w[1][1] * ry + (double)w[1][2] * rz;
  *cz = (double)w[2][0] * rx + (double)w[2][1] * ry + (double)w[2][2] * rz;
}
```
